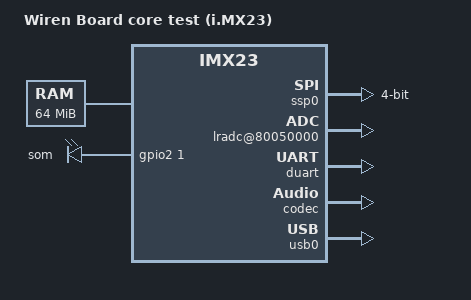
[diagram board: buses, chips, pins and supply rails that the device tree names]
/*
 * Copyright 2012 Freescale Semiconductor, Inc.
 *
 * Author: Fabio Estevam <fabio.estevam@freescale.com>
 *
 * The code contained herein is licensed under the GNU General Public
 * License. You may obtain a copy of the GNU General Public License
 * Version 2 or later at the following locations:
 *
 * http://www.opensource.org/licenses/gpl-license.html
 * http://www.gnu.org/copyleft/gpl.html
 */

/dts-v1/;
#include "imx23.dtsi"

/ {
	model = "Wiren Board core test (i.MX23)";
	compatible = "contactless,imx23-wirenboard-coretest","contactless,imx23-wirenboard28", "olimex,imx23-olinuxino", "fsl,imx23";

	memory {
		reg = <0x40000000 0x04000000>;
	};

	apb@80000000 {
		apbh@80000000 {
			ssp0: ssp@80010000 {
				compatible = "fsl,imx23-mmc";
				pinctrl-names = "default";
				pinctrl-0 = <&mmc0_4bit_pins_a &mmc0_pins_fixup>;
				bus-width = <4>;
				broken-cd;
				status = "okay";
			};

			pinctrl@80018000 {
				pinctrl-names = "default";
				pinctrl-0 = <&hog_pins_a &spi2_pins_nocs &i2c0_pins_a_gpio &auart0_2pins_gpio>;

				hog_pins_a: hog@0 {
					reg = <0>;
					fsl,pinmux-ids = <
						0x2013 /* MX23_PAD_SSP1_DETECT__GPIO_2_1 */
						0x0113 /* MX23_PAD_GPMI_ALE__GPIO_0_17 */
					>;
					fsl,drive-strength = <0>;
					fsl,voltage = <1>;
					fsl,pull-up = <0>;
				};


				auart0_2pins_gpio: auart0-2pins-gpio@0 {
					reg = <0>;
					fsl,pinmux-ids = <
						MX23_PAD_I2C_SCL__GPIO_0_30
						MX23_PAD_I2C_SDA__GPIO_0_31
					>;
					fsl,drive-strength = <MXS_DRIVE_4mA>;
					fsl,voltage = <MXS_VOLTAGE_HIGH>;
					fsl,pull-up = <MXS_PULL_DISABLE>;
				};


				led_pin_gpio2_1: led_gpio2_1@0 {
					reg = <0>;
					fsl,pinmux-ids = <
						0x2013 /* MX23_PAD_SSP1_DETECT__GPIO_2_1 */
					>;
					fsl,drive-strength = <0>;
					fsl,voltage = <1>;
					fsl,pull-up = <0>;
				};


				i2c_gpio: i2c_gpio {
					reg = <0>;
					fsl,pinmux-ids = <
						0x0173 // MX23_PAD_GPMI_WPN__GPIO_0_23
						0x0193 // MX23_PAD_GPMI_RDN__GPIO_0_25
					>;
					fsl,pull-up = <1>;
				};

		        i2c0_pins_a_gpio: i2c0_pins_a_gpio {
		           reg = <0>;
		           fsl,pinmux-ids = <
		           0x1173 /* MX23_PAD_LCD_ENABLE__GPIO_1_23 */
		           0x1183 /* MX23_PAD_LCD_HSYNC__GPIO_1_24 */
		           >;
		           fsl,drive-strength = <1>;
		           fsl,voltage = <1>;
		           fsl,pull-up = <1>;
		        };


				spi2_pins_nocs: spi2@0 {
					reg = <0>;
					fsl,pinmux-ids = <
					0x0183 /*MX23_PAD_GPMI_WRN__GPIO_0_24			 */
					0x0143 /* MX23_PAD_GPMI_RDY1__GPIO_0_20	*/
					0x0003 /* MX23_PAD_GPMI_D00__GPIO_0_0			*/
					>;
					fsl,drive-strength = <1>;
					fsl,voltage = <1>;
					fsl,pull-up = <1>;
				};


			};

		};

		apbx@80040000 {
			lradc@80050000 {
				status = "okay";
			};


			duart: serial@80070000 {
				pinctrl-names = "default";
				pinctrl-0 = <&duart_pins_a>;
				status = "okay";
			};

			usbphy0: usbphy@8007c000 {
				status = "okay";
			};

			codec: mxs-builtin-codec {
				compatible = "fsl,mxs-builtin-codec";
				reg = <0x80048000 0x2000>, <0x8004c000 0x2000>,
					<0x8005c000 0x2000>;
				reg-names = "audioout", "audioin", "rtc";
				clocks = <&clks 31>;
				clock-names = "filt";
			};

			platform_dai: mxs-builtin-cpu-dai {
				compatible = "fsl,mxs-builtin-cpu-dai";
				reg = <0x80048000 0x2000>, <0x8004c000 0x2000>,
				<0x8005c000 0x2000>;
				reg-names = "audioout", "audioin", "rtc";
				interrupts = <8 6 4>;
				dmas = <&dma_apbx 0>, <&dma_apbx 1>;
				dma-names = "rx", "tx";
			};



		};
	};

	ahb@80080000 {
		usb0: usb@80080000 {
		    /*vbus-supply = <&reg_33v_bus>;*/
			status = "okay";



		};



	};


	leds {
		compatible = "gpio-leds";
		pinctrl-names = "default";

		som {
			label = "som";
			gpios = <&gpio2 1 0>;
			linux,default-trigger = "timer";
		};

	};




};
